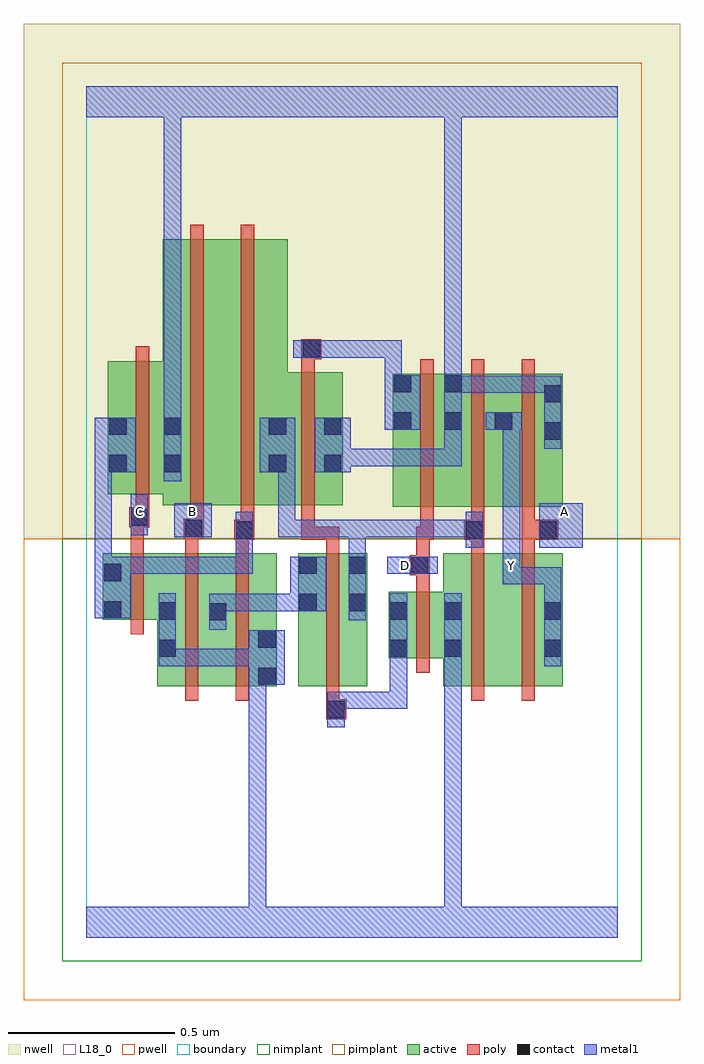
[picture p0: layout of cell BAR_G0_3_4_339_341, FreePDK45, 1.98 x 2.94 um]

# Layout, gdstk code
import gdstk
lib = gdstk.Library(unit=1e-6, precision=1e-09)
def R(c, l, rs):  # rectangles x0, y0, x1, y1
    for r in rs: c.add(gdstk.rectangle(r[:2], r[2:], *l))
def A(c, l, x, y, w, h, nx, ny, dx, dy):  # array of equal rectangles
    R(c, l, [(x+i*dx, y+j*dy, x+i*dx+w, y+j*dy+h) for i in range(nx) for j in range(ny)])
active = (1, 0)
pwell = (2, 0)
nwell = (3, 0)
nimplant = (4, 0)
pimplant = (5, 0)
poly = (9, 0)
contact = (10, 0)
metal1 = (11, 0)
L18_0 = (18, 0)
boundary = (235, 0)

bar_g0_3_4_339_341 = lib.new_cell('BAR_G0_3_4_339_341')
R(bar_g0_3_4_339_341, active, [(0.214,0.756,0.426,1.156), (0.214,0.756,0.274,1.018), (0.366,0.756,0.574,1.156), (0.366,0.756,0.426,1.01), (0.514,0.756,0.574,1.156), (0.638,0.756,0.698,1.156), (0.638,0.756,0.846,1.156), (0.786,0.756,0.846,1.156), (1.074,0.756,1.254,1.156), (1.254,0.756,1.434,1.156), (1.374,0.756,1.434,1.156), (0.91,0.84,1.134,1.04), (0.91,0.84,0.97,1.04), (1.074,0.84,1.134,1.012), (0.05,0.956,0.274,1.156), (0.05,0.956,0.11,1.156), (0.922,1.296,0.982,1.696), (0.922,1.296,1.134,1.696), (1.074,1.296,1.286,1.696), (1.226,1.296,1.434,1.696), (1.226,1.296,1.286,1.644), (1.374,1.296,1.434,1.696), (0.23,1.3,0.41,2.1), (0.41,1.3,0.606,2.1), (0.546,1.3,0.772,1.7), (0.712,1.3,0.772,1.7), (1.074,1.31,1.134,1.696), (0.066,1.334,0.126,1.734), (0.066,1.334,0.29,1.734), (0.23,1.36,0.29,1.676), (0.546,1.396,0.606,1.644)])
R(bar_g0_3_4_339_341, pwell, [(-0.188,-0.188,1.788,1.2)])
R(bar_g0_3_4_339_341, nwell, [(-0.188,1.2,1.788,2.748)])
R(bar_g0_3_4_339_341, nimplant, [(-0.072,-0.072,1.672,1.2)])
R(bar_g0_3_4_339_341, pimplant, [(-0.072,1.2,1.672,2.632)])
A(bar_g0_3_4_339_341, poly, 1.006, 1.252, 0.04, 0.488, 3, 1, 0.152, 0)
R(bar_g0_3_4_339_341, poly, [(0.722,0.656,0.782,0.716), (0.722,0.676,0.762,0.752), (0.298,0.712,0.338,1.2), (0.45,0.712,0.49,1.2), (0.722,0.712,0.762,1.2), (1.158,0.712,1.198,1.2), (1.31,0.712,1.35,1.2), (0.994,0.796,1.034,1.084), (0.134,0.912,0.174,1.2), (0.994,1.044,1.034,1.13), (0.974,1.09,1.034,1.15), (0.994,1.11,1.034,1.236), (0.134,1.16,0.174,1.274), (0.298,1.16,0.338,1.24), (0.45,1.16,0.49,1.236), (0.722,1.16,0.762,1.236), (1.158,1.16,1.198,1.236), (1.31,1.16,1.35,1.236), (0.446,1.196,0.506,1.256), (0.648,1.196,0.688,1.296), (0.648,1.196,0.762,1.236), (0.722,1.196,0.762,1.236), (0.722,1.196,0.762,1.236), (0.994,1.196,1.046,1.236), (1.006,1.196,1.046,1.292), (1.138,1.196,1.198,1.256), (1.158,1.196,1.198,1.236), (1.158,1.196,1.198,1.236), (1.31,1.196,1.35,1.236), (1.31,1.196,1.35,1.236), (1.31,1.196,1.42,1.256), (0.294,1.2,0.354,1.26), (0.298,1.2,0.338,1.24), (0.298,1.2,0.338,1.24), (0.466,1.216,0.506,1.256), (0.466,1.216,0.506,1.256), (0.466,1.216,0.506,1.296), (1.158,1.216,1.198,1.292), (1.31,1.216,1.35,1.292), (0.314,1.22,0.354,1.296), (0.13,1.234,0.19,1.294), (0.134,1.234,0.174,1.274), (0.134,1.234,0.174,1.274), (0.15,1.254,0.19,1.33), (0.314,1.256,0.354,2.144), (0.466,1.256,0.506,2.144), (0.648,1.256,0.688,1.744), (0.15,1.29,0.19,1.778), (0.648,1.704,0.688,1.78), (0.648,1.74,0.708,1.8)])
A(bar_g0_3_4_339_341, contact, 0.926, 1.528, 0.052, 0.052, 3, 1, 0.152, 0)
R(bar_g0_3_4_339_341, contact, [(0.726,0.66,0.778,0.712), (0.518,0.76,0.57,0.812), (0.218,0.844,0.27,0.896), (0.914,0.844,0.966,0.896), (1.078,0.844,1.13,0.896), (1.378,0.844,1.43,0.896), (0.518,0.872,0.57,0.924), (0.37,0.954,0.422,1.006), (0.218,0.956,0.27,1.008), (0.914,0.956,0.966,1.008), (1.078,0.956,1.13,1.008), (1.378,0.956,1.43,1.008), (0.054,0.96,0.106,1.012), (0.642,0.982,0.694,1.034), (0.79,0.982,0.842,1.034), (0.054,1.072,0.106,1.124), (0.642,1.094,0.694,1.146), (0.79,1.094,0.842,1.146), (0.978,1.094,1.03,1.146), (0.45,1.2,0.502,1.252), (1.142,1.2,1.194,1.252), (1.364,1.2,1.416,1.252), (0.298,1.204,0.35,1.256), (0.134,1.238,0.186,1.29), (0.07,1.4,0.122,1.452), (0.234,1.4,0.286,1.452), (0.55,1.4,0.602,1.452), (0.716,1.4,0.768,1.452), (1.378,1.498,1.43,1.55), (0.07,1.512,0.122,1.564), (0.234,1.512,0.286,1.564), (0.55,1.512,0.602,1.564), (0.716,1.512,0.768,1.564), (1.378,1.61,1.43,1.662), (0.926,1.64,0.978,1.692), (1.078,1.64,1.13,1.692), (0.652,1.744,0.704,1.796)])
R(bar_g0_3_4_339_341, metal1, [(0,0,1.6,0.092), (0.49,0.04,0.542,0.092), (0.49,0.04,0.542,0.092), (0.49,0.04,0.542,0.092), (0.49,0.04,0.542,0.092), (0.49,0.04,0.542,0.092), (0.49,0.04,0.542,0.092), (0.49,0.04,0.542,0.092), (0.49,0.04,0.542,0.092), (0.49,0.04,0.542,0.092), (0.49,0.04,0.542,0.092), (0.49,0.04,0.542,0.092), (0.49,0.04,0.542,0.092), (0.49,0.04,0.542,0.812), (1.078,0.04,1.13,0.092), (1.078,0.04,1.13,0.092), (1.078,0.04,1.13,0.092), (1.078,0.04,1.13,0.092), (1.078,0.04,1.13,0.092), (1.078,0.04,1.13,0.092), (1.078,0.04,1.13,0.092), (1.078,0.04,1.13,0.092), (1.078,0.04,1.13,0.092), (1.078,0.04,1.13,0.092), (1.078,0.04,1.13,0.092), (1.078,0.04,1.13,0.092), (1.078,0.04,1.13,0.868), (0.726,0.632,0.778,0.74), (0.726,0.688,0.778,0.74), (0.726,0.688,0.778,0.74), (0.726,0.688,0.778,0.74), (0.726,0.688,0.778,0.74), (0.726,0.688,0.966,0.74), (0.914,0.688,0.966,0.74), (0.914,0.688,0.966,0.74), (0.914,0.688,0.966,0.74), (0.914,0.688,0.966,0.868), (0.49,0.76,0.598,0.924), (0.218,0.816,0.27,0.868), (0.218,0.816,0.27,0.868), (0.218,0.816,0.27,1.036), (0.218,0.816,0.392,0.868), (0.34,0.816,0.392,0.868), (0.34,0.816,0.392,0.868), (0.34,0.816,0.392,0.868), (0.34,0.816,0.542,0.868), (0.914,0.816,0.966,1.036), (1.078,0.816,1.13,1.036), (1.378,0.816,1.43,1.036), (0.37,0.926,0.422,1.034), (0.79,0.954,0.842,1.174), (0.026,0.96,0.134,1.124), (0.37,0.982,0.422,1.034), (0.37,0.982,0.422,1.034), (0.37,0.982,0.542,1.034), (0.49,0.982,0.542,1.034), (0.49,0.982,0.666,1.034), (0.614,0.982,0.722,1.146), (1.378,0.984,1.43,1.114), (1.254,1.062,1.43,1.114), (1.254,1.062,1.306,1.174), (1.378,1.062,1.43,1.114), (1.378,1.062,1.43,1.114), (1.378,1.062,1.43,1.114), (0.026,1.072,0.078,1.146), (0.026,1.094,0.078,1.146), (0.026,1.094,0.078,1.146), (0.026,1.094,0.078,1.146), (0.026,1.094,0.078,1.146), (0.026,1.094,0.078,1.146), (0.026,1.094,0.282,1.146), (0.026,1.094,0.078,1.452), (0.23,1.094,0.282,1.146), (0.23,1.094,0.282,1.146), (0.23,1.094,0.282,1.146), (0.23,1.094,0.432,1.146), (0.38,1.094,0.432,1.146), (0.38,1.094,0.502,1.146), (0.45,1.094,0.502,1.28), (0.906,1.094,1.058,1.146), (0.79,1.122,0.842,1.174), (0.79,1.122,0.842,1.174), (0.79,1.122,0.842,1.256), (1.254,1.122,1.306,1.174), (1.254,1.122,1.306,1.174), (1.254,1.122,1.306,1.58), (1.142,1.172,1.194,1.28), (1.364,1.172,1.494,1.306), (0.266,1.204,0.378,1.306), (0.578,1.204,0.63,1.256), (0.578,1.204,0.84,1.256), (0.578,1.204,0.63,1.452), (0.788,1.204,0.84,1.256), (0.788,1.204,0.84,1.256), (0.788,1.204,0.842,1.256), (0.79,1.204,1.02,1.256), (0.968,1.204,1.02,1.256), (0.968,1.204,1.02,1.256), (0.968,1.204,1.02,1.256), (0.968,1.204,1.144,1.256), (1.092,1.204,1.144,1.256), (1.092,1.204,1.194,1.256), (0.134,1.21,0.186,1.334), (0.234,1.372,0.286,1.592), (0.026,1.4,0.15,1.564), (0.522,1.4,0.63,1.564), (0.688,1.4,0.796,1.564), (0.744,1.418,0.952,1.47), (0.9,1.418,0.952,1.47), (0.9,1.418,0.952,1.47), (0.9,1.418,0.952,1.47), (0.9,1.418,1.13,1.47), (1.078,1.418,1.13,1.47), (1.078,1.418,1.13,1.47), (1.078,1.418,1.13,1.47), (1.078,1.418,1.13,1.552), (1.378,1.47,1.43,1.69), (1.078,1.5,1.13,1.552), (1.078,1.5,1.13,1.552), (1.078,1.5,1.13,1.72), (0.898,1.528,1.006,1.692), (1.202,1.528,1.31,1.58), (0.234,1.54,0.286,2.52), (1.078,1.638,1.254,1.69), (1.202,1.638,1.254,1.69), (1.202,1.638,1.254,1.69), (1.202,1.638,1.254,1.69), (1.202,1.638,1.43,1.69), (1.378,1.638,1.43,1.69), (1.378,1.638,1.43,1.69), (0.898,1.64,0.95,1.796), (1.078,1.668,1.13,1.72), (1.078,1.668,1.13,1.72), (1.078,1.668,1.13,1.72), (1.078,1.668,1.13,1.72), (1.078,1.668,1.13,1.72), (1.078,1.668,1.13,1.72), (1.078,1.668,1.13,1.72), (1.078,1.668,1.13,1.72), (1.078,1.668,1.13,1.72), (1.078,1.668,1.13,1.72), (1.078,1.668,1.13,2.52), (0.624,1.744,0.732,1.796), (0.68,1.744,0.74,1.796), (0.688,1.744,0.74,1.796), (0.688,1.744,0.95,1.796), (0.898,1.744,0.95,1.796), (0,2.468,1.6,2.56), (0.234,2.468,0.286,2.52), (0.234,2.468,0.286,2.52), (0.234,2.468,0.286,2.52), (0.234,2.468,0.286,2.52), (0.234,2.468,0.286,2.52), (0.234,2.468,0.286,2.52), (0.234,2.468,0.286,2.52), (0.234,2.468,0.286,2.52), (1.078,2.468,1.13,2.52), (1.078,2.468,1.13,2.52), (1.078,2.468,1.13,2.52), (1.078,2.468,1.13,2.52), (1.078,2.468,1.13,2.52), (1.078,2.468,1.13,2.52)])
R(bar_g0_3_4_339_341, L18_0, [(0,0,1.6,0.092), (0.49,0.04,0.542,0.092), (0.49,0.04,0.542,0.092), (0.49,0.04,0.542,0.092), (0.49,0.04,0.542,0.092), (0.49,0.04,0.542,0.092), (0.49,0.04,0.542,0.092), (0.49,0.04,0.542,0.092), (0.49,0.04,0.542,0.092), (0.49,0.04,0.542,0.092), (0.49,0.04,0.542,0.092), (0.49,0.04,0.542,0.092), (0.49,0.04,0.542,0.092), (0.49,0.04,0.542,0.812), (1.078,0.04,1.13,0.092), (1.078,0.04,1.13,0.092), (1.078,0.04,1.13,0.092), (1.078,0.04,1.13,0.092), (1.078,0.04,1.13,0.092), (1.078,0.04,1.13,0.092), (1.078,0.04,1.13,0.092), (1.078,0.04,1.13,0.092), (1.078,0.04,1.13,0.092), (1.078,0.04,1.13,0.092), (1.078,0.04,1.13,0.092), (1.078,0.04,1.13,0.092), (1.078,0.04,1.13,0.868), (0.49,0.76,0.598,0.924), (0.218,0.816,0.27,1.036), (0.218,0.816,0.27,0.868), (0.218,0.816,0.27,0.868), (0.218,0.816,0.392,0.868), (0.34,0.816,0.392,0.868), (0.34,0.816,0.392,0.868), (0.34,0.816,0.392,0.868), (0.34,0.816,0.542,0.868), (1.078,0.816,1.13,1.036), (1.378,0.816,1.43,1.036), (1.378,0.984,1.43,1.114), (1.254,1.062,1.43,1.114), (1.254,1.062,1.306,1.174), (1.378,1.062,1.43,1.114), (1.378,1.062,1.43,1.114), (1.378,1.062,1.43,1.114), (0.906,1.094,1.058,1.146), (0.934,1.094,0.986,1.146), (1.254,1.094,1.306,1.146), (1.254,1.122,1.306,1.174), (1.254,1.122,1.306,1.174), (1.254,1.122,1.306,1.58), (1.364,1.172,1.494,1.306), (0.266,1.204,0.378,1.306), (0.134,1.21,0.186,1.334), (0.134,1.254,0.186,1.306), (0.294,1.254,0.346,1.306), (1.414,1.254,1.466,1.306), (0.234,1.372,0.286,1.592), (0.688,1.4,0.796,1.564), (0.744,1.418,0.952,1.47), (0.9,1.418,0.952,1.47), (0.9,1.418,0.952,1.47), (0.9,1.418,0.952,1.47), (0.9,1.418,1.13,1.47), (1.078,1.418,1.13,1.47), (1.078,1.418,1.13,1.47), (1.078,1.418,1.13,1.47), (1.078,1.418,1.13,1.552), (1.378,1.47,1.43,1.69), (1.078,1.5,1.13,1.72), (1.078,1.5,1.13,1.552), (1.078,1.5,1.13,1.552), (1.202,1.528,1.31,1.58), (0.234,1.54,0.286,2.52), (1.078,1.638,1.254,1.69), (1.202,1.638,1.254,1.69), (1.202,1.638,1.254,1.69), (1.202,1.638,1.254,1.69), (1.202,1.638,1.43,1.69), (1.378,1.638,1.43,1.69), (1.378,1.638,1.43,1.69), (1.078,1.668,1.13,1.72), (1.078,1.668,1.13,1.72), (1.078,1.668,1.13,1.72), (1.078,1.668,1.13,1.72), (1.078,1.668,1.13,1.72), (1.078,1.668,1.13,1.72), (1.078,1.668,1.13,1.72), (1.078,1.668,1.13,1.72), (1.078,1.668,1.13,1.72), (1.078,1.668,1.13,1.72), (1.078,1.668,1.13,2.52), (0,2.468,1.6,2.56), (0.234,2.468,0.286,2.52), (0.234,2.468,0.286,2.52), (0.234,2.468,0.286,2.52), (0.234,2.468,0.286,2.52), (0.234,2.468,0.286,2.52), (0.234,2.468,0.286,2.52), (0.234,2.468,0.286,2.52), (0.234,2.468,0.286,2.52), (1.078,2.468,1.13,2.52), (1.078,2.468,1.13,2.52), (1.078,2.468,1.13,2.52), (1.078,2.468,1.13,2.52), (1.078,2.468,1.13,2.52), (1.078,2.468,1.13,2.52)])
R(bar_g0_3_4_339_341, boundary, [(0,0,1.6,2.56)])
bar_g0_3_4_339_341.add(gdstk.Label('A', (1.44,1.28), layer=11, texttype=0))
bar_g0_3_4_339_341.add(gdstk.Label('B', (0.32,1.28), layer=11, texttype=0))
bar_g0_3_4_339_341.add(gdstk.Label('C', (0.16,1.28), layer=11, texttype=0))
bar_g0_3_4_339_341.add(gdstk.Label('D', (0.96,1.12), layer=11, texttype=0))
bar_g0_3_4_339_341.add(gdstk.Label('Y', (1.28,1.12), layer=11, texttype=0))

lib.write_gds('BAR_G0_3_4_339_341.gds')
